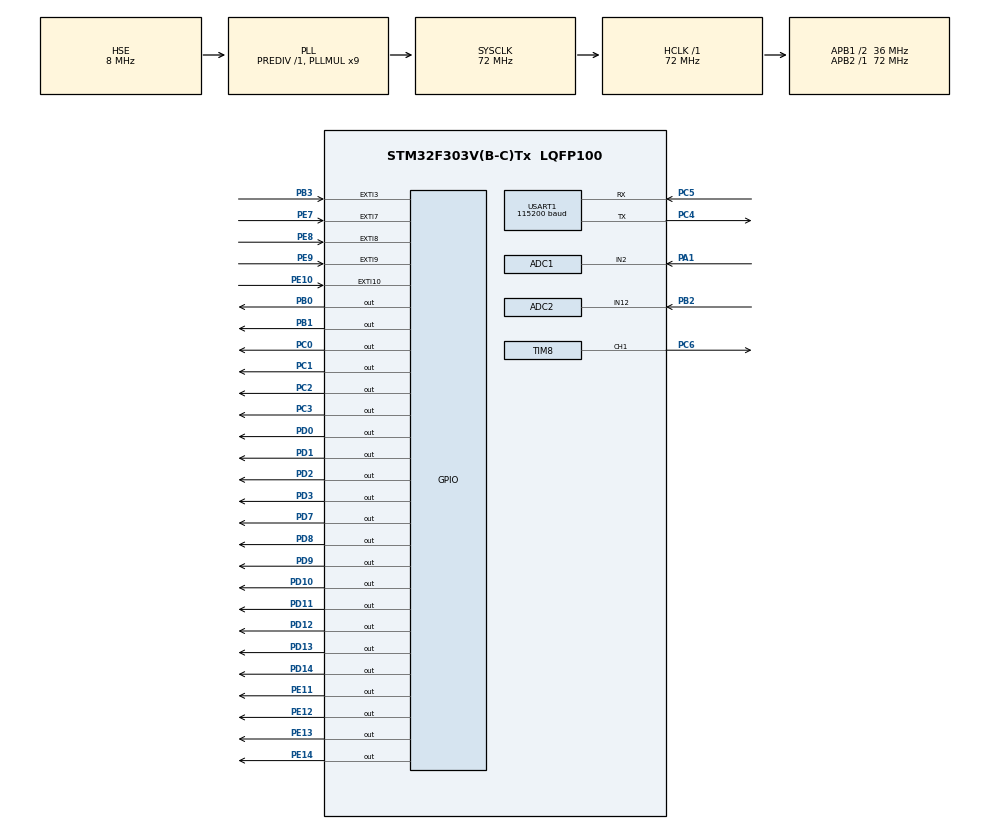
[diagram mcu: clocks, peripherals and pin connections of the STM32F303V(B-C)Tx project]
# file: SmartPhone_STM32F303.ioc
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ADC1.Channel-0\#ChannelRegularConversion=ADC_CHANNEL_2
ADC1.ClockPrescaler=ADC_CLOCK_SYNC_PCLK_DIV1
ADC1.ExternalTrigConv=ADC_EXTERNALTRIGCONV_T4_TRGO
ADC1.NbrOfConversionFlag=1
ADC1.Offset-0\#ChannelRegularConversion=0
ADC1.OffsetNumber-0\#ChannelRegularConversion=ADC_OFFSET_NONE
ADC1.Rank-0\#ChannelRegularConversion=1
ADC1.SamplingTime-0\#ChannelRegularConversion=ADC_SAMPLETIME_61CYCLES_5
ADC1.SamplingTimeOPAMP-0\#ChannelRegularConversion=ADC_SAMPLETIME_4CYCLES_5
ADC1.master=1
ADC2.Channel-0\#ChannelRegularConversion=ADC_CHANNEL_12
ADC2.ClockPrescaler=ADC_CLOCK_SYNC_PCLK_DIV1
ADC2.ExternalTrigConv=ADC_EXTERNALTRIGCONV_T4_TRGO
ADC2.NbrOfConversionFlag=1
ADC2.Offset-0\#ChannelRegularConversion=0
ADC2.OffsetNumber-0\#ChannelRegularConversion=ADC_OFFSET_NONE
ADC2.Rank-0\#ChannelRegularConversion=1
ADC2.SamplingTime-0\#ChannelRegularConversion=ADC_SAMPLETIME_61CYCLES_5
ADC2.SamplingTimeOPAMP-0\#ChannelRegularConversion=ADC_SAMPLETIME_4CYCLES_5
FREERTOS.HEAP_NUMBER=4
FREERTOS.Tasks01=defaultTask,24,128,StartDefaultTask,Default,NULL,Dynamic,NULL,NULL
FREERTOS.configTOTAL_HEAP_SIZE=12288   
IWDG.Prescaler=IWDG_PRESCALER_64
IWDG.Reload=1250
Mcu.Family=STM32F3
Mcu.Name=STM32F303V(B-C)Tx
Mcu.Package=LQFP100
NVIC.ADC1_2_IRQn=true\:7\:0\:true\:false\:true\:true\:true\:true\:true
NVIC.EXTI15_10_IRQn=true\:5\:0\:true\:false\:true\:true\:true\:true\:true
NVIC.EXTI3_IRQn=true\:5\:0\:true\:false\:true\:true\:true\:true\:true
NVIC.EXTI9_5_IRQn=true\:5\:0\:true\:false\:true\:true\:true\:true\:true
NVIC.PriorityGroup=NVIC_PRIORITYGROUP_4
NVIC.TIM1_UP_TIM16_IRQn=true\:15\:0\:true\:false\:true\:false\:false\:true\:true
NVIC.TIM2_IRQn=true\:6\:0\:true\:false\:true\:true\:true\:true\:true
NVIC.TIM3_IRQn=true\:5\:0\:true\:false\:true\:false\:true\:true\:true
NVIC.TIM6_DAC_IRQn=true\:5\:0\:false\:false\:true\:true\:true\:true\:true
NVIC.TIM7_IRQn=true\:1\:0\:true\:false\:true\:false\:true\:true\:true
NVIC.TimeBase=TIM1_UP_TIM16_IRQn
NVIC.TimeBaseIP=TIM1
NVIC.USART1_IRQn=true\:6\:0\:true\:false\:true\:true\:true\:true\:true
PA1.Mode=IN2-Single-Ended
PA1.Signal=ADC1_IN2
PA13.Mode=Serial_Wire
PA13.Signal=SYS_JTMS-SWDIO
PA14.Mode=Serial_Wire
PA14.Signal=SYS_JTCK-SWCLK
PB0.Signal=GPIO_Output
PB1.Signal=GPIO_Output
PB2.Mode=IN12-Single-Ended
PB2.Signal=ADC2_IN12
PB3.GPIO_PuPd=GPIO_PULLDOWN
PB3.Signal=GPXTI3
PC0.Signal=GPIO_Output
PC1.Signal=GPIO_Output
PC2.Signal=GPIO_Output
PC3.Signal=GPIO_Output
PC4.Mode=Asynchronous
PC4.Signal=USART1_TX
PC5.Mode=Asynchronous
PC5.Signal=USART1_RX
PC6.Signal=S_TIM8_CH1
PD0.Signal=GPIO_Output
PD1.Signal=GPIO_Output
PD10.Signal=GPIO_Output
PD11.Signal=GPIO_Output
PD12.Signal=GPIO_Output
PD13.Signal=GPIO_Output
PD14.Signal=GPIO_Output
PD2.Signal=GPIO_Output
PD3.Signal=GPIO_Output
PD7.Signal=GPIO_Output
PD8.Signal=GPIO_Output
PD9.Signal=GPIO_Output
PE10.GPIO_PuPd=GPIO_PULLDOWN
PE10.Signal=GPXTI10
PE11.PinState=GPIO_PIN_SET
PE11.Signal=GPIO_Output
PE12.PinState=GPIO_PIN_SET
PE12.Signal=GPIO_Output
PE13.PinState=GPIO_PIN_SET
PE13.Signal=GPIO_Output
PE14.PinState=GPIO_PIN_SET
PE14.Signal=GPIO_Output
PE7.GPIO_PuPd=GPIO_PULLDOWN
PE7.Signal=GPXTI7
PE8.GPIO_PuPd=GPIO_PULLDOWN
PE8.Signal=GPXTI8
PE9.GPIO_PuPd=GPIO_PULLDOWN
PE9.Signal=GPXTI9
PF0-OSC_IN.Mode=HSE-External-Clock-Source
PF0-OSC_IN.Signal=RCC_OSC_IN
ProjectManager.HeapSize=0x200
ProjectManager.StackSize=0x400
ProjectManager.TargetToolchain=STM32CubeIDE
RCC.AHBFreq_Value=72000000
RCC.APB1CLKDivider=RCC_HCLK_DIV2
RCC.APB1Freq_Value=36000000
RCC.APB1TimFreq_Value=72000000
RCC.APB2Freq_Value=72000000
RCC.APB2TimFreq_Value=72000000
RCC.CortexFreq_Value=72000000
RCC.HCLKFreq_Value=72000000
RCC.HSE_VALUE=8000000
RCC.HSI_VALUE=8000000
RCC.LSE_VALUE=32768
RCC.PLLMUL=RCC_PLL_MUL9
RCC.PLLSourceVirtual=RCC_PLLSOURCE_HSE
RCC.SYSCLKFreq_VALUE=72000000
RCC.SYSCLKSourceVirtual=RCC_SYSCLKSOURCE_PLLCLK
RCC.USBFreq_Value=72000000
RTC.AsynchPrediv=124
RTC.SynchPrediv=319
SH.S_TIM8_CH1.0=TIM8_CH1,PWM Generation1 CH1
TIM16.Period=999
TIM16.Prescaler=7199
TIM2.Period=9999
TIM2.Prescaler=7199
TIM3.Period=9
TIM3.Prescaler=7199
TIM4.Period=499
TIM4.Prescaler=7199
TIM4.TIM_MasterOutputTrigger=TIM_TRGO_UPDATE
TIM6.Period=999
TIM6.Prescaler=71
TIM7.Period=499
TIM7.Prescaler=71
TIM8.Channel-PWM\ Generation1\ CH1=TIM_CHANNEL_1
TIM8.Period=999
TIM8.Prescaler=71
USART1.BaudRate=115200
USART1.VirtualMode-Asynchronous=VM_ASYNC
VP_FREERTOS_VS_CMSIS_V2.Mode=CMSIS_V2
VP_IWDG_VS_IWDG.Mode=IWDG_Activate
VP_RTC_VS_RTC_Activate.Mode=RTC_Enabled
VP_RTC_VS_RTC_Calendar.Mode=RTC_Calendar
VP_SYS_VS_tim1.Mode=TIM1
VP_TIM16_VS_ClockSourceINT.Mode=Enable_Timer
VP_TIM2_VS_ClockSourceINT.Mode=Internal
VP_TIM3_VS_ClockSourceINT.Mode=Internal
VP_TIM4_VS_ClockSourceINT.Mode=Internal
VP_TIM6_VS_ClockSourceINT.Mode=Enable_Timer
VP_TIM7_VS_ClockSourceINT.Mode=Enable_Timer
board=custom

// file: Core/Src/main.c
/* USER CODE BEGIN Header */
/**
  ******************************************************************************
  * @file           : main.c
  * @brief          : Main program body
  ******************************************************************************
  * @attention
  *
  * Copyright (c) 2026 STMicroelectronics.
  * All rights reserved.
  *
  * This software is licensed under terms that can be found in the LICENSE file
  * in the root directory of this software component.
  * If no LICENSE file comes with this software, it is provided AS-IS.
  *
  ******************************************************************************
  */
/* USER CODE END Header */
#include "main.h"
#include "cmsis_os.h"

/* USER CODE BEGIN Includes */
#include <stdio.h>
#include "pinmap.h"
#include "serial.h"
#include "LiquidCrystal.h"
#include "seg7.h"
#include "keypad.h"
#include "events.h"
#include "app_config.h"
#include "ui.h"
#include "cgram.h"
#include "phone.h"
#include "buzzer.h"
#include "analog.h"
#include "storage.h"
#include "rtc_time.h"
#include "leds.h"
#include "health.h"
/* USER CODE END Includes */

ADC_HandleTypeDef hadc1;
ADC_HandleTypeDef hadc2;

IWDG_HandleTypeDef hiwdg;

RTC_HandleTypeDef hrtc;

TIM_HandleTypeDef htim2;
TIM_HandleTypeDef htim3;
TIM_HandleTypeDef htim4;
TIM_HandleTypeDef htim6;
TIM_HandleTypeDef htim7;
TIM_HandleTypeDef htim8;
TIM_HandleTypeDef htim16;

UART_HandleTypeDef huart1;

/* Definitions for defaultTask (== ui_task as of Phase 3, see StartDefaultTask).
 * Phase 3 note: bumped from CubeMX's original 128*4=512-byte stack_size to
 * 384*4=1536 bytes. 512 bytes was sized for the trivial pre-Phase-3 loop;
 * this task now calls into ui.c/cgram.c, which in turn call the bit-banged
 * HD44780 driver (LiquidCrystal.c) from *task* context for the first time
 * (previously all LCD writes happened directly in main() before
 * osKernelStart()). Bumped defensively while investigating a boot-loop
 * report -- see FreeRTOSConfig.h's stack-overflow-hook comment for the
 * diagnostic instrumentation added alongside this. Heap budget has ample
 * room (configTOTAL_HEAP_SIZE=12288; this task + appTask's 4096-byte stack
 * + idle/timer-service tasks + eventQueue/mutex together are ~8 KB). */
osThreadId_t defaultTaskHandle;
const osThreadAttr_t defaultTask_attributes = {
  .name = "defaultTask",
  .stack_size = 384 * 4,
  .priority = (osPriority_t) osPriorityNormal,
};
/* USER CODE BEGIN PV */
/* Definitions for appTask (plan section 4.3). Declared here, in the same
 * pattern CubeMX uses for defaultTask above, since this whole block is a
 * USER CODE region and safe from regeneration. */
osThreadId_t appTaskHandle;
const osThreadAttr_t appTask_attributes = {
  .name = "appTask",
  .stack_size = 1024 * 4,
  .priority = (osPriority_t) osPriorityNormal,
};

/* Definitions for storageTask (plan section 4.3 table: "waits on
 * save-request flag; performs flash erase/write", low priority, 256-word
 * (1024-byte) stack). Same declaration pattern as appTask above. */
osThreadId_t storageTaskHandle;
const osThreadAttr_t storageTask_attributes = {
  .name = "storageTask",
  .stack_size = 256 * 4,
  .priority = (osPriority_t) osPriorityLow,
};
/* USER CODE END PV */

void SystemClock_Config(void);
static void MX_GPIO_Init(void);
static void MX_IWDG_Init(void);
static void MX_RTC_Init(void);
static void MX_TIM2_Init(void);
static void MX_TIM6_Init(void);
static void MX_TIM7_Init(void);
static void MX_TIM8_Init(void);
static void MX_USART1_UART_Init(void);
static void MX_ADC1_Init(void);
static void MX_ADC2_Init(void);
static void MX_TIM3_Init(void);
static void MX_TIM4_Init(void);
static void MX_TIM16_Init(void);
void StartDefaultTask(void *argument);

/* USER CODE BEGIN PFP */
void StartAppTask(void *argument);
void StartStorageTask(void *argument);
/* USER CODE END PFP */

int main(void)
{

  /* MCU Configuration--------------------------------------------------------*/

  /* Reset of all peripherals, Initializes the Flash interface and the Systick. */
  HAL_Init();

  /* Configure the system clock */
  SystemClock_Config();

  /* Initialize all configured peripherals */
  MX_GPIO_Init();
  MX_IWDG_Init();
  MX_RTC_Init();
  MX_TIM2_Init();
  MX_TIM6_Init();
  MX_TIM7_Init();
  MX_TIM8_Init();
  MX_USART1_UART_Init();
  MX_ADC1_Init();
  MX_ADC2_Init();
  MX_TIM3_Init();
  MX_TIM4_Init();
  MX_TIM16_Init();
  /* USER CODE BEGIN 2 */
  Serial_Init(&huart1);
  LiquidCrystal(PIN_LCD_PORT, PIN_LCD_RS, PIN_LCD_RW, PIN_LCD_EN,
                PIN_LCD_D4, PIN_LCD_D5, PIN_LCD_D6, PIN_LCD_D7);
  Seg7_Init();
  Keypad_Init();

  HAL_TIM_Base_Start_IT(&htim7); /* seg7 mux @2 kHz */
  HAL_TIM_Base_Start_IT(&htim2); /* seg7 seconds tick @1 Hz */
  HAL_TIM_Base_Start_IT(&htim6); /* keypad engine soft-timer tick @1 kHz (plan 2.3/5.1) */

  /* Phase 4 (plan section 2.3/5.3/5.4): buzzer melody sequencer + ADC
   * pipeline bring-up. TIM3 drives Buzzer_TickISR() at 1 kHz (started
   * _IT since it needs the update-event ISR). TIM4 only needs its
   * counter running so its TRGO can trigger ADC1/ADC2 -- no IRQ is
   * enabled for it per the plan's own TIM4 row ("TRGO only, no IRQ"), so
   * plain HAL_TIM_Base_Start() (not _IT) is correct here. ADC1/ADC2 both
   * need one calibration pass before first use (HAL requirement for
   * F3's ADC) and then _IT start so HAL_ADC_ConvCpltCallback() fires on
   * every TIM4-triggered conversion; analog.c re-arms each ADC for the
   * next trigger itself (see Analog_ConvCpltCallback()'s comment). */
  HAL_ADCEx_Calibration_Start(&hadc1, ADC_SINGLE_ENDED);
  HAL_ADCEx_Calibration_Start(&hadc2, ADC_SINGLE_ENDED);
  HAL_ADC_Start_IT(&hadc1);
  HAL_ADC_Start_IT(&hadc2);
  HAL_TIM_Base_Start(&htim4);
  HAL_TIM_Base_Start_IT(&htim3);
  Buzzer_Init();
  Analog_Init();

  /* Phase 8 (plan section 2.3: "TIM16 -- PvZ game tick ... 10 Hz -- update
   * IRQ"). Started unconditionally at boot, same "always running, ignored
   * by whichever app isn't listening" pattern already used for TIM7's seg7
   * mux -- app_pvz.c's on_event() only reacts to EV_GAME_TICK while AppPvz
   * is s_current (phone.c's Phone_Dispatch() routes it there like any other
   * event), so there is no real cost to leaving TIM16 free-running instead
   * of start/stopping it on app entry/exit. */
  HAL_TIM_Base_Start_IT(&htim16);

  /* Phase 6 (plan section 5.6): load the flash blob into RAM before the
   * scheduler starts -- plain flash reads, no HAL_FLASH unlock needed,
   * same pre-kernel timing as Buzzer_Init()/Analog_Init() above. Must run
   * before appTask (Phone_Init() -> Menu -> Note/Contact apps read
   * Storage_Get*Count() as soon as the user opens them). */
  Storage_Init();

  /* Phase 7: RTC "unsynced" bookkeeping, LED init, and arming UART RX --
   * all plain register/flag setup, same pre-kernel timing as
   * Buzzer_Init()/Storage_Init() above. Serial_StartRx() must run after
   * Serial_Init() (needs s_huart already set) and before osKernelStart()
   * so the very first `/start` isn't missed while the scheduler is still
   * coming up. */
  RTC_Time_Init();
  Leds_Init();
  Serial_StartRx();

  /* Phase 3: no more direct pre-kernel print()/setCursor() calls here --
   * ui_task (StartDefaultTask) is now the sole owner of LCD writes (rule
   * 0.2), and it doesn't run until osKernelStart() below. Phone_Init(),
   * called from appTask, draws the boot screen once the scheduler is up. */
  /* USER CODE END 2 */

  /* Init scheduler */
  osKernelInitialize();

  /* USER CODE BEGIN RTOS_MUTEX */
  /* UI_Init() creates ui.c's internal lcdStateMutex (plan section 4.3:
   * "Mutex lcdStateMutex guards app-state snapshots read by ui_task").
   * Cgram_Init() just resets bank-tracking state, no LCD writes yet --
   * both are safe here, after osKernelInitialize() but before
   * osKernelStart(), matching how CubeMX itself places mutex creation. */
  UI_Init();
  Cgram_Init();
  /* USER CODE END RTOS_MUTEX */

  /* USER CODE BEGIN RTOS_QUEUES */
  Event_Init(); /* plan section 4.2: eventQueue, length EVENT_QUEUE_LEN */
  /* USER CODE END RTOS_QUEUES */

  /* Create the thread(s) */
  /* creation of defaultTask */
  defaultTaskHandle = osThreadNew(StartDefaultTask, NULL, &defaultTask_attributes);

  /* USER CODE BEGIN RTOS_THREADS */
  /* appTask (plan section 4.3): drains eventQueue, drives the phone
   * shell/apps. Created after defaultTask (which is now ui_task) so the
   * LCD-owning task exists first, though ordering doesn't matter for
   * correctness -- appTask's first action (Phone_Init()) only writes to
   * ui.c's RAM back buffer, never the LCD directly. */
  appTaskHandle = osThreadNew(StartAppTask, NULL, &appTask_attributes);

  /* storageTask (plan section 4.3): low priority, waits on
   * Storage_RequestSave()'s flag, does the actual flash erase/program.
   * Created after appTask; ordering doesn't matter for correctness since
   * Storage_WaitAndSave() just blocks until the first save request. */
  storageTaskHandle = osThreadNew(StartStorageTask, NULL, &storageTask_attributes);

  /* Phase 10: register handles for /health stack high-water marks. */
  Health_RegisterTasks(defaultTaskHandle, appTaskHandle, storageTaskHandle);
  /* USER CODE END RTOS_THREADS */

  /* USER CODE BEGIN RTOS_THREADS_CREATE_CHECK */
  /* Round-2/3 boot-loop chase instrumentation (defaultTaskHandle/
   * appTaskHandle LOG) removed in round 5: round 3 already proved both
   * threads are created successfully (non-NULL handles) every boot, and
   * round 5 root-caused the boot loop to an unrelated first-render timing
   * bug (see ui.c's UI_Init() comment). Master plan section 9.5 records the
   * full diagnostic history. */
  /* USER CODE END RTOS_THREADS_CREATE_CHECK */

  /* Start scheduler */
  osKernelStart();

  /* We should never get here as control is now taken by the scheduler */
  /* Infinite loop */
  while (1)
  {

  }
}

void SystemClock_Config(void)
{
  RCC_OscInitTypeDef RCC_OscInitStruct = {0};
  RCC_ClkInitTypeDef RCC_ClkInitStruct = {0};
  RCC_PeriphCLKInitTypeDef PeriphClkInit = {0};

  /** Initializes the RCC Oscillators according to the specified parameters
  * in the RCC_OscInitTypeDef structure.
  */
  RCC_OscInitStruct.OscillatorType = RCC_OSCILLATORTYPE_LSI|RCC_OSCILLATORTYPE_HSE;
  RCC_OscInitStruct.HSEState = RCC_HSE_BYPASS;
  RCC_OscInitStruct.HSEPredivValue = RCC_HSE_PREDIV_DIV1;
  RCC_OscInitStruct.HSIState = RCC_HSI_ON;
  RCC_OscInitStruct.LSIState = RCC_LSI_ON;
  RCC_OscInitStruct.PLL.PLLState = RCC_PLL_ON;
  RCC_OscInitStruct.PLL.PLLSource = RCC_PLLSOURCE_HSE;
  RCC_OscInitStruct.PLL.PLLMUL = RCC_PLL_MUL9;
  if (HAL_RCC_OscConfig(&RCC_OscInitStruct) != HAL_OK)
  {
    Error_Handler();
  }

  /** Initializes the CPU, AHB and APB buses clocks
  */
  RCC_ClkInitStruct.ClockType = RCC_CLOCKTYPE_HCLK|RCC_CLOCKTYPE_SYSCLK
                              |RCC_CLOCKTYPE_PCLK1|RCC_CLOCKTYPE_PCLK2;
  RCC_ClkInitStruct.SYSCLKSource = RCC_SYSCLKSOURCE_PLLCLK;
  RCC_ClkInitStruct.AHBCLKDivider = RCC_SYSCLK_DIV1;
  RCC_ClkInitStruct.APB1CLKDivider = RCC_HCLK_DIV2;
  RCC_ClkInitStruct.APB2CLKDivider = RCC_HCLK_DIV1;

  if (HAL_RCC_ClockConfig(&RCC_ClkInitStruct, FLASH_LATENCY_2) != HAL_OK)
  {
    Error_Handler();
  }
  PeriphClkInit.PeriphClockSelection = RCC_PERIPHCLK_USART1|RCC_PERIPHCLK_RTC
                              |RCC_PERIPHCLK_TIM8;
  PeriphClkInit.Usart1ClockSelection = RCC_USART1CLKSOURCE_PCLK2;
  PeriphClkInit.RTCClockSelection = RCC_RTCCLKSOURCE_LSI;
  PeriphClkInit.Tim8ClockSelection = RCC_TIM8CLK_HCLK;
  if (HAL_RCCEx_PeriphCLKConfig(&PeriphClkInit) != HAL_OK)
  {
    Error_Handler();
  }
}

static void MX_ADC1_Init(void)
{

  ADC_MultiModeTypeDef multimode = {0};
  ADC_ChannelConfTypeDef sConfig = {0};

  /** Common config
  */
  hadc1.Instance = ADC1;
  hadc1.Init.ClockPrescaler = ADC_CLOCK_SYNC_PCLK_DIV1;
  hadc1.Init.Resolution = ADC_RESOLUTION_12B;
  hadc1.Init.ScanConvMode = ADC_SCAN_DISABLE;
  hadc1.Init.ContinuousConvMode = DISABLE;
  hadc1.Init.DiscontinuousConvMode = DISABLE;
  hadc1.Init.ExternalTrigConvEdge = ADC_EXTERNALTRIGCONVEDGE_RISING;
  hadc1.Init.ExternalTrigConv = ADC_EXTERNALTRIGCONV_T4_TRGO;
  hadc1.Init.DataAlign = ADC_DATAALIGN_RIGHT;
  hadc1.Init.NbrOfConversion = 1;
  hadc1.Init.DMAContinuousRequests = DISABLE;
  hadc1.Init.EOCSelection = ADC_EOC_SINGLE_CONV;
  hadc1.Init.LowPowerAutoWait = DISABLE;
  hadc1.Init.Overrun = ADC_OVR_DATA_OVERWRITTEN;
  if (HAL_ADC_Init(&hadc1) != HAL_OK)
  {
    Error_Handler();
  }

  /** Configure the ADC multi-mode
  */
  multimode.Mode = ADC_MODE_INDEPENDENT;
  if (HAL_ADCEx_MultiModeConfigChannel(&hadc1, &multimode) != HAL_OK)
  {
    Error_Handler();
  }

  /** Configure Regular Channel
  */
  sConfig.Channel = ADC_CHANNEL_2;
  sConfig.Rank = ADC_REGULAR_RANK_1;
  sConfig.SingleDiff = ADC_SINGLE_ENDED;
  sConfig.SamplingTime = ADC_SAMPLETIME_61CYCLES_5;
  sConfig.OffsetNumber = ADC_OFFSET_NONE;
  sConfig.Offset = 0;
  if (HAL_ADC_ConfigChannel(&hadc1, &sConfig) != HAL_OK)
  {
    Error_Handler();
  }

}

static void MX_ADC2_Init(void)
{

  ADC_ChannelConfTypeDef sConfig = {0};

  /** Common config
  */
  hadc2.Instance = ADC2;
  hadc2.Init.ClockPrescaler = ADC_CLOCK_SYNC_PCLK_DIV1;
  hadc2.Init.Resolution = ADC_RESOLUTION_12B;
  hadc2.Init.ScanConvMode = ADC_SCAN_DISABLE;
  hadc2.Init.ContinuousConvMode = DISABLE;
  hadc2.Init.DiscontinuousConvMode = DISABLE;
  hadc2.Init.ExternalTrigConvEdge = ADC_EXTERNALTRIGCONVEDGE_RISING;
  hadc2.Init.ExternalTrigConv = ADC_EXTERNALTRIGCONV_T4_TRGO;
  hadc2.Init.DataAlign = ADC_DATAALIGN_RIGHT;
  hadc2.Init.NbrOfConversion = 1;
  hadc2.Init.DMAContinuousRequests = DISABLE;
  hadc2.Init.EOCSelection = ADC_EOC_SINGLE_CONV;
  hadc2.Init.LowPowerAutoWait = DISABLE;
  hadc2.Init.Overrun = ADC_OVR_DATA_OVERWRITTEN;
  if (HAL_ADC_Init(&hadc2) != HAL_OK)
  {
    Error_Handler();
  }

  /** Configure Regular Channel
  */
  sConfig.Channel = ADC_CHANNEL_12;
  sConfig.Rank = ADC_REGULAR_RANK_1;
  sConfig.SingleDiff = ADC_SINGLE_ENDED;
  sConfig.SamplingTime = ADC_SAMPLETIME_61CYCLES_5;
  sConfig.OffsetNumber = ADC_OFFSET_NONE;
  sConfig.Offset = 0;
  if (HAL_ADC_ConfigChannel(&hadc2, &sConfig) != HAL_OK)
  {
    Error_Handler();
  }

}

static void MX_IWDG_Init(void)
{

  hiwdg.Instance = IWDG;
  hiwdg.Init.Prescaler = IWDG_PRESCALER_64;
  hiwdg.Init.Window = 4095;
  hiwdg.Init.Reload = 1250;
  if (HAL_IWDG_Init(&hiwdg) != HAL_OK)
  {
    Error_Handler();
  }

}

static void MX_RTC_Init(void)
{

  RTC_TimeTypeDef sTime = {0};
  RTC_DateTypeDef sDate = {0};

  /** Initialize RTC Only
  */
  hrtc.Instance = RTC;
  hrtc.Init.HourFormat = RTC_HOURFORMAT_24;
  hrtc.Init.AsynchPrediv = 124;
  hrtc.Init.SynchPrediv = 319;
  hrtc.Init.OutPut = RTC_OUTPUT_DISABLE;
  hrtc.Init.OutPutPolarity = RTC_OUTPUT_POLARITY_HIGH;
  hrtc.Init.OutPutType = RTC_OUTPUT_TYPE_OPENDRAIN;
  if (HAL_RTC_Init(&hrtc) != HAL_OK)
  {
    Error_Handler();
  }

  /** Initialize RTC and set the Time and Date
  */
  sTime.Hours = 0x0;
  sTime.Minutes = 0x0;
  sTime.Seconds = 0x0;
  sTime.DayLightSaving = RTC_DAYLIGHTSAVING_NONE;
  sTime.StoreOperation = RTC_STOREOPERATION_RESET;
  if (HAL_RTC_SetTime(&hrtc, &sTime, RTC_FORMAT_BCD) != HAL_OK)
  {
    Error_Handler();
  }
  sDate.WeekDay = RTC_WEEKDAY_MONDAY;
  sDate.Month = RTC_MONTH_JANUARY;
  sDate.Date = 0x1;
  sDate.Year = 0x0;

  if (HAL_RTC_SetDate(&hrtc, &sDate, RTC_FORMAT_BCD) != HAL_OK)
  {
    Error_Handler();
  }

}

static void MX_TIM2_Init(void)
{

  TIM_ClockConfigTypeDef sClockSourceConfig = {0};
  TIM_MasterConfigTypeDef sMasterConfig = {0};

  htim2.Instance = TIM2;
  htim2.Init.Prescaler = 7199;
  htim2.Init.CounterMode = TIM_COUNTERMODE_UP;
  htim2.Init.Period = 9999;
  htim2.Init.ClockDivision = TIM_CLOCKDIVISION_DIV1;
  htim2.Init.AutoReloadPreload = TIM_AUTORELOAD_PRELOAD_DISABLE;
  if (HAL_TIM_Base_Init(&htim2) != HAL_OK)
  {
    Error_Handler();
  }
  sClockSourceConfig.ClockSource = TIM_CLOCKSOURCE_INTERNAL;
  if (HAL_TIM_ConfigClockSource(&htim2, &sClockSourceConfig) != HAL_OK)
  {
    Error_Handler();
  }
  sMasterConfig.MasterOutputTrigger = TIM_TRGO_RESET;
  sMasterConfig.MasterSlaveMode = TIM_MASTERSLAVEMODE_DISABLE;
  if (HAL_TIMEx_MasterConfigSynchronization(&htim2, &sMasterConfig) != HAL_OK)
  {
    Error_Handler();
  }

}

static void MX_TIM3_Init(void)
{

  TIM_ClockConfigTypeDef sClockSourceConfig = {0};
  TIM_MasterConfigTypeDef sMasterConfig = {0};

  htim3.Instance = TIM3;
  htim3.Init.Prescaler = 7199;
  htim3.Init.CounterMode = TIM_COUNTERMODE_UP;
  htim3.Init.Period = 9;
  htim3.Init.ClockDivision = TIM_CLOCKDIVISION_DIV1;
  htim3.Init.AutoReloadPreload = TIM_AUTORELOAD_PRELOAD_DISABLE;
  if (HAL_TIM_Base_Init(&htim3) != HAL_OK)
  {
    Error_Handler();
  }
  sClockSourceConfig.ClockSource = TIM_CLOCKSOURCE_INTERNAL;
  if (HAL_TIM_ConfigClockSource(&htim3, &sClockSourceConfig) != HAL_OK)
  {
    Error_Handler();
  }
  sMasterConfig.MasterOutputTrigger = TIM_TRGO_RESET;
  sMasterConfig.MasterSlaveMode = TIM_MASTERSLAVEMODE_DISABLE;
  if (HAL_TIMEx_MasterConfigSynchronization(&htim3, &sMasterConfig) != HAL_OK)
  {
    Error_Handler();
  }

}

static void MX_TIM4_Init(void)
{

  TIM_ClockConfigTypeDef sClockSourceConfig = {0};
  TIM_MasterConfigTypeDef sMasterConfig = {0};

  htim4.Instance = TIM4;
  htim4.Init.Prescaler = 7199;
  htim4.Init.CounterMode = TIM_COUNTERMODE_UP;
  htim4.Init.Period = 499;
  htim4.Init.ClockDivision = TIM_CLOCKDIVISION_DIV1;
  htim4.Init.AutoReloadPreload = TIM_AUTORELOAD_PRELOAD_DISABLE;
  if (HAL_TIM_Base_Init(&htim4) != HAL_OK)
  {
    Error_Handler();
  }
  sClockSourceConfig.ClockSource = TIM_CLOCKSOURCE_INTERNAL;
  if (HAL_TIM_ConfigClockSource(&htim4, &sClockSourceConfig) != HAL_OK)
  {
    Error_Handler();
  }
  sMasterConfig.MasterOutputTrigger = TIM_TRGO_UPDATE;
  sMasterConfig.MasterSlaveMode = TIM_MASTERSLAVEMODE_DISABLE;
  if (HAL_TIMEx_MasterConfigSynchronization(&htim4, &sMasterConfig) != HAL_OK)
  {
    Error_Handler();
  }

}

static void MX_TIM6_Init(void)
{

  TIM_MasterConfigTypeDef sMasterConfig = {0};

  htim6.Instance = TIM6;
  htim6.Init.Prescaler = 71;
  htim6.Init.CounterMode = TIM_COUNTERMODE_UP;
  htim6.Init.Period = 999;
  htim6.Init.AutoReloadPreload = TIM_AUTORELOAD_PRELOAD_DISABLE;
  if (HAL_TIM_Base_Init(&htim6) != HAL_OK)
  {
    Error_Handler();
  }
  sMasterConfig.MasterOutputTrigger = TIM_TRGO_RESET;
  sMasterConfig.MasterSlaveMode = TIM_MASTERSLAVEMODE_DISABLE;
  if (HAL_TIMEx_MasterConfigSynchronization(&htim6, &sMasterConfig) != HAL_OK)
  {
    Error_Handler();
  }

}

static void MX_TIM7_Init(void)
{

  TIM_MasterConfigTypeDef sMasterConfig = {0};

  htim7.Instance = TIM7;
  htim7.Init.Prescaler = 71;
  htim7.Init.CounterMode = TIM_COUNTERMODE_UP;
  htim7.Init.Period = 499;
  htim7.Init.AutoReloadPreload = TIM_AUTORELOAD_PRELOAD_DISABLE;
  if (HAL_TIM_Base_Init(&htim7) != HAL_OK)
  {
    Error_Handler();
  }
  sMasterConfig.MasterOutputTrigger = TIM_TRGO_RESET;
  sMasterConfig.MasterSlaveMode = TIM_MASTERSLAVEMODE_DISABLE;
  if (HAL_TIMEx_MasterConfigSynchronization(&htim7, &sMasterConfig) != HAL_OK)
  {
    Error_Handler();
  }

}

static void MX_TIM8_Init(void)
{

  TIM_MasterConfigTypeDef sMasterConfig = {0};
  TIM_OC_InitTypeDef sConfigOC = {0};
  TIM_BreakDeadTimeConfigTypeDef sBreakDeadTimeConfig = {0};

  htim8.Instance = TIM8;
  htim8.Init.Prescaler = 71;
  htim8.Init.CounterMode = TIM_COUNTERMODE_UP;
  htim8.Init.Period = 999;
  htim8.Init.ClockDivision = TIM_CLOCKDIVISION_DIV1;
  htim8.Init.RepetitionCounter = 0;
  htim8.Init.AutoReloadPreload = TIM_AUTORELOAD_PRELOAD_DISABLE;
  if (HAL_TIM_PWM_Init(&htim8) != HAL_OK)
  {
    Error_Handler();
  }
  sMasterConfig.MasterOutputTrigger = TIM_TRGO_RESET;
  sMasterConfig.MasterOutputTrigger2 = TIM_TRGO2_RESET;
  sMasterConfig.MasterSlaveMode = TIM_MASTERSLAVEMODE_DISABLE;
  if (HAL_TIMEx_MasterConfigSynchronization(&htim8, &sMasterConfig) != HAL_OK)
  {
    Error_Handler();
  }
  sConfigOC.OCMode = TIM_OCMODE_PWM1;
  sConfigOC.Pulse = 0;
  sConfigOC.OCPolarity = TIM_OCPOLARITY_HIGH;
  sConfigOC.OCNPolarity = TIM_OCNPOLARITY_HIGH;
  sConfigOC.OCFastMode = TIM_OCFAST_DISABLE;
  sConfigOC.OCIdleState = TIM_OCIDLESTATE_RESET;
  sConfigOC.OCNIdleState = TIM_OCNIDLESTATE_RESET;
  if (HAL_TIM_PWM_ConfigChannel(&htim8, &sConfigOC, TIM_CHANNEL_1) != HAL_OK)
  {
    Error_Handler();
  }
  sBreakDeadTimeConfig.OffStateRunMode = TIM_OSSR_DISABLE;
  sBreakDeadTimeConfig.OffStateIDLEMode = TIM_OSSI_DISABLE;
  sBreakDeadTimeConfig.LockLevel = TIM_LOCKLEVEL_OFF;
  sBreakDeadTimeConfig.DeadTime = 0;
  sBreakDeadTimeConfig.BreakState = TIM_BREAK_DISABLE;
  sBreakDeadTimeConfig.BreakPolarity = TIM_BREAKPOLARITY_HIGH;
  sBreakDeadTimeConfig.BreakFilter = 0;
  sBreakDeadTimeConfig.Break2State = TIM_BREAK2_DISABLE;
  sBreakDeadTimeConfig.Break2Polarity = TIM_BREAK2POLARITY_HIGH;
  sBreakDeadTimeConfig.Break2Filter = 0;
  sBreakDeadTimeConfig.AutomaticOutput = TIM_AUTOMATICOUTPUT_DISABLE;
  if (HAL_TIMEx_ConfigBreakDeadTime(&htim8, &sBreakDeadTimeConfig) != HAL_OK)
  {
    Error_Handler();
  }
  HAL_TIM_MspPostInit(&htim8);

}

static void MX_TIM16_Init(void)
{

  htim16.Instance = TIM16;
  htim16.Init.Prescaler = 7199;
  htim16.Init.CounterMode = TIM_COUNTERMODE_UP;
  htim16.Init.Period = 999;
  htim16.Init.ClockDivision = TIM_CLOCKDIVISION_DIV1;
  htim16.Init.RepetitionCounter = 0;
  htim16.Init.AutoReloadPreload = TIM_AUTORELOAD_PRELOAD_DISABLE;
  if (HAL_TIM_Base_Init(&htim16) != HAL_OK)
  {
    Error_Handler();
  }

}

static void MX_USART1_UART_Init(void)
{

  huart1.Instance = USART1;
  huart1.Init.BaudRate = 115200;
  huart1.Init.WordLength = UART_WORDLENGTH_8B;
  huart1.Init.StopBits = UART_STOPBITS_1;
  huart1.Init.Parity = UART_PARITY_NONE;
  huart1.Init.Mode = UART_MODE_TX_RX;
  huart1.Init.HwFlowCtl = UART_HWCONTROL_NONE;
  huart1.Init.OverSampling = UART_OVERSAMPLING_16;
  huart1.Init.OneBitSampling = UART_ONE_BIT_SAMPLE_DISABLE;
  huart1.AdvancedInit.AdvFeatureInit = UART_ADVFEATURE_NO_INIT;
  if (HAL_UART_Init(&huart1) != HAL_OK)
  {
    Error_Handler();
  }

}

static void MX_GPIO_Init(void)
{
  GPIO_InitTypeDef GPIO_InitStruct = {0};

  /* GPIO Ports Clock Enable */
  __HAL_RCC_GPIOF_CLK_ENABLE();
  __HAL_RCC_GPIOC_CLK_ENABLE();
  __HAL_RCC_GPIOA_CLK_ENABLE();
  __HAL_RCC_GPIOB_CLK_ENABLE();
  __HAL_RCC_GPIOE_CLK_ENABLE();
  __HAL_RCC_GPIOD_CLK_ENABLE();

  /*Configure GPIO pin Output Level */
  HAL_GPIO_WritePin(GPIOC, GPIO_PIN_0|GPIO_PIN_1|GPIO_PIN_2|GPIO_PIN_3, GPIO_PIN_RESET);

  /*Configure GPIO pin Output Level */
  HAL_GPIO_WritePin(GPIOB, GPIO_PIN_0|GPIO_PIN_1, GPIO_PIN_RESET);

  /*Configure GPIO pin Output Level */
  HAL_GPIO_WritePin(GPIOE, GPIO_PIN_11|GPIO_PIN_12|GPIO_PIN_13|GPIO_PIN_14, GPIO_PIN_SET);

  /*Configure GPIO pin Output Level */
  HAL_GPIO_WritePin(GPIOD, GPIO_PIN_8|GPIO_PIN_9|GPIO_PIN_10|GPIO_PIN_11
                          |GPIO_PIN_12|GPIO_PIN_13|GPIO_PIN_14|GPIO_PIN_0
                          |GPIO_PIN_1|GPIO_PIN_2|GPIO_PIN_3|GPIO_PIN_7, GPIO_PIN_RESET);

  /*Configure GPIO pins : PC0 PC1 PC2 PC3 */
  GPIO_InitStruct.Pin = GPIO_PIN_0|GPIO_PIN_1|GPIO_PIN_2|GPIO_PIN_3;
  GPIO_InitStruct.Mode = GPIO_MODE_OUTPUT_PP;
  GPIO_InitStruct.Pull = GPIO_NOPULL;
  GPIO_InitStruct.Speed = GPIO_SPEED_FREQ_LOW;
  HAL_GPIO_Init(GPIOC, &GPIO_InitStruct);

  /*Configure GPIO pins : PB0 PB1 */
  GPIO_InitStruct.Pin = GPIO_PIN_0|GPIO_PIN_1;
  GPIO_InitStruct.Mode = GPIO_MODE_OUTPUT_PP;
  GPIO_InitStruct.Pull = GPIO_NOPULL;
  GPIO_InitStruct.Speed = GPIO_SPEED_FREQ_LOW;
  HAL_GPIO_Init(GPIOB, &GPIO_InitStruct);

  /*Configure GPIO pins : PE7 PE8 PE9 PE10 */
  GPIO_InitStruct.Pin = GPIO_PIN_7|GPIO_PIN_8|GPIO_PIN_9|GPIO_PIN_10;
  GPIO_InitStruct.Mode = GPIO_MODE_IT_RISING;
  GPIO_InitStruct.Pull = GPIO_PULLDOWN;
  HAL_GPIO_Init(GPIOE, &GPIO_InitStruct);

  /*Configure GPIO pins : PE11 PE12 PE13 PE14 */
  GPIO_InitStruct.Pin = GPIO_PIN_11|GPIO_PIN_12|GPIO_PIN_13|GPIO_PIN_14;
  GPIO_InitStruct.Mode = GPIO_MODE_OUTPUT_PP;
  GPIO_InitStruct.Pull = GPIO_NOPULL;
  GPIO_InitStruct.Speed = GPIO_SPEED_FREQ_LOW;
  HAL_GPIO_Init(GPIOE, &GPIO_InitStruct);

  /*Configure GPIO pins : PD8 PD9 PD10 PD11
                           PD12 PD13 PD14 PD0
                           PD1 PD2 PD3 PD7 */
  GPIO_InitStruct.Pin = GPIO_PIN_8|GPIO_PIN_9|GPIO_PIN_10|GPIO_PIN_11
                          |GPIO_PIN_12|GPIO_PIN_13|GPIO_PIN_14|GPIO_PIN_0
                          |GPIO_PIN_1|GPIO_PIN_2|GPIO_PIN_3|GPIO_PIN_7;
  GPIO_InitStruct.Mode = GPIO_MODE_OUTPUT_PP;
  GPIO_InitStruct.Pull = GPIO_NOPULL;
  GPIO_InitStruct.Speed = GPIO_SPEED_FREQ_LOW;
  HAL_GPIO_Init(GPIOD, &GPIO_InitStruct);

  /*Configure GPIO pin : PB3 */
  GPIO_InitStruct.Pin = GPIO_PIN_3;
  GPIO_InitStruct.Mode = GPIO_MODE_IT_RISING;
  GPIO_InitStruct.Pull = GPIO_PULLDOWN;
  HAL_GPIO_Init(GPIOB, &GPIO_InitStruct);

  /* EXTI interrupt init*/
  HAL_NVIC_SetPriority(EXTI3_IRQn, 5, 0);
  HAL_NVIC_EnableIRQ(EXTI3_IRQn);

  HAL_NVIC_SetPriority(EXTI9_5_IRQn, 5, 0);
  HAL_NVIC_EnableIRQ(EXTI9_5_IRQn);

  HAL_NVIC_SetPriority(EXTI15_10_IRQn, 5, 0);
  HAL_NVIC_EnableIRQ(EXTI15_10_IRQn);

}

/* USER CODE BEGIN 4 */

/* Round-5 defense-in-depth: passed to UI_RenderDirty() as its per-row
 * callback (see ui.h's doc comment). ui.c deliberately has no visibility
 * into hiwdg (not exposed via main.h), so this thin wrapper is how ui_task's
 * render loop can feed the watchdog mid-redraw without main.c handing the
 * whole IWDG handle out to another module. */
static void ui_iwdg_row_kick(void)
{
  HAL_IWDG_Refresh(&hiwdg);
}

/* USER CODE END 4 */

void StartDefaultTask(void *argument)
{
  /* USER CODE BEGIN 5 */
  /* Phase 3: this is now the real ui_task from plan section 4.3's table --
   * "ui_render_dirty(); cgram_apply(); IWDG kick; osDelay(30)" -- copied
   * verbatim. This finally resolves the rule 0.2 deviation Phase 1/2 both
   * documented as "corrected in Phase 3 when the task split happens":
   * event draining and all app logic moved out to the new appTask/
   * StartAppTask() below; this loop touches nothing but the LCD (via
   * ui.c/cgram.c) and the watchdog. Kept as the CubeMX-generated
   * "defaultTask" identity (name/handle/priority) rather than renamed,
   * since those declaration lines sit outside USER CODE markers and would
   * be re-clobbered by the next CubeMX .ioc regeneration anyway; only this
   * body (already USER CODE-owned) needed to change. */
  /* Round-2/3/4 boot-loop chase instrumentation (ui_task alive + per-tick
   * dbg_tick logging) removed here in round 5: rounds 1-4 already proved
   * task creation, thread liveness, and looping all worked correctly, and
   * round 5 root-caused the actual boot loop to UI_Init() forcing an
   * unnecessarily large first-frame redraw (see ui.c's UI_Init() comment)
   * -- not a hang in this loop. Master plan section 9.5 records the full
   * diagnostic history; no longer worth the UART traffic on every boot. */
  for (;;)
  {
    UI_RenderDirty(ui_iwdg_row_kick);
    Cgram_Apply();
    HAL_IWDG_Refresh(&hiwdg);
    osDelay(UI_RENDER_TICK_MS);
  }
  /* USER CODE END 5 */
}

/* USER CODE BEGIN Header_StartAppTask */
/**
  * @brief  Function implementing the appTask thread (plan section 4.3):
  *         drains eventQueue and drives the phone shell / apps. Never
  *         touches the LCD directly -- all display output goes through
  *         ui.h's RAM back-buffer, flushed to hardware only by ui_task.
  * @param  argument: Not used
  * @retval None
  */
/* USER CODE END Header_StartAppTask */
void StartAppTask(void *argument)
{
  /* USER CODE BEGIN AppTask */
  Phone_Init();

  for (;;)
  {
    Event ev;
    /* Innovation I2: longer wait + __WFI while locked (no STOP/STANDBY —
     * keypad/UART/IWDG stay alive; ui_task still kicks IWDG every ~30 ms). */
    uint32_t wait_ms = Phone_IsLocked() ? (uint32_t)LOCK_IDLE_MS
                                        : (uint32_t)APP_TASK_TICK_MS;
    if (osMessageQueueGet(eventQueue, &ev, NULL, wait_ms) == osOK) {
      Phone_Dispatch(&ev);
    } else if (Phone_IsLocked()) {
      __WFI();
    }
    Phone_Tick(); /* drives blink/animation re-evaluation every tick
                    * regardless of whether an event arrived (see
                    * app_config.h's APP_TASK_TICK_MS comment) */
  }
  /* USER CODE END AppTask */
}

void StartStorageTask(void *argument)
{
  for (;;)
  {
    Storage_WaitAndSave();
  }
}

void HAL_TIM_PeriodElapsedCallback(TIM_HandleTypeDef *htim)
{
  if (htim->Instance == TIM1) {
    HAL_IncTick();
  }
  /* USER CODE BEGIN Callback 1 */
  else if (htim->Instance == TIM7) {
    Seg7_MuxISR();
  }
  else if (htim->Instance == TIM2) {
    Seg7_SecondsTickISR();
  }
  else if (htim->Instance == TIM6) {
    Keypad_TickISR();
  }
  else if (htim->Instance == TIM3) {
    Buzzer_TickISR(); /* plan section 2.3: TIM3 = melody sequencer @1 kHz */
  }
  else if (htim->Instance == TIM16) {
    /* Phase 8 (plan section 2.3/5.8): PvZ game tick @10 Hz. Thin ISR ->
     * event post, same pattern as every other producer in this file --
     * the actual simulation step runs in app_task (Phone_Dispatch() ->
     * app_pvz.c's on_event()), never here. */
    Event ev = { .type = (uint8_t)EV_GAME_TICK, .a = 0, .b = 0, .c = 0 };
    Event_Post(&ev);
  }
  /* USER CODE END Callback 1 */
}

/**
  * @brief  Conversion complete callback in non-blocking mode (Phase 4,
  *         plan section 5.4). Fires from ADC1_2_IRQHandler for both ADC1
  *         (LDR) and ADC2 (pot) -- dispatch and re-arming both live in
  *         analog.c so this stays a pure pass-through (see analog.h's
  *         header comment on why no ADC handle externs are needed here).
  * @param  hadc: ADC handle
  * @retval None
  */
/* USER CODE BEGIN Callback ADC */
void HAL_ADC_ConvCpltCallback(ADC_HandleTypeDef *hadc)
{
  Analog_ConvCpltCallback(hadc);
}
/* USER CODE END Callback ADC */

void Error_Handler(void)
{
  /* USER CODE BEGIN Error_Handler_Debug */
  /* User can add his own implementation to report the HAL error return state */
  /* Diagnostic instrumentation added while chasing the Phase 3 boot-loop
   * report (LCD repeats "SmartPhone", board keeps resetting). Error_Handler()
   * is reached whenever any HAL_xxx_Init() call fails, and previously gave
   * zero indication of which one -- it just spun forever below with IRQs
   * disabled, starving the IWDG (~2s timeout, see MX_IWDG_Init()) until the
   * watchdog reset the board, which then hit the same failing init again,
   * producing exactly the observed infinite reset loop. LOG() can't be used
   * here because it's interrupt-driven (HAL_UART_Transmit_IT, drained by
   * USART1_IRQHandler) and we're about to disable interrupts; use polled
   * HAL_UART_Transmit() instead, same approach as HardFault_Handler_C() in
   * stm32f3xx_it.c. __LINE__/__FILE__ of the *caller* aren't available here
   * (Error_Handler takes no arguments in the HAL-generated call sites), but
   * this at least distinguishes "we hit Error_Handler" from "we HardFaulted",
   * which the earlier UART log alone could not do. */
  {
    const char msg[] = "\r\n[ERROR_HANDLER] a HAL_xxx_Init() call failed -- see call stack via debugger for which one\r\n";
    HAL_UART_Transmit(&huart1, (uint8_t *)msg, (uint16_t)(sizeof(msg) - 1), 500u);
  }
  __disable_irq();
  while (1)
  {
  }
  /* USER CODE END Error_Handler_Debug */
}

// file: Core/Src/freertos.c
/* USER CODE BEGIN Header */
/**
  ******************************************************************************
  * File Name          : freertos.c
  * Description        : Code for freertos applications
  ******************************************************************************
  * @attention
  *
  * Copyright (c) 2026 STMicroelectronics.
  * All rights reserved.
  *
  * This software is licensed under terms that can be found in the LICENSE file
  * in the root directory of this software component.
  * If no LICENSE file comes with this software, it is provided AS-IS.
  *
  ******************************************************************************
  */
/* USER CODE END Header */

#include "FreeRTOS.h"
#include "task.h"
#include "main.h"

/* USER CODE BEGIN Includes */
#include "serial.h"
/* USER CODE END Includes */

/* USER CODE BEGIN Application */

/* Diagnostic hooks for the Phase 3 boot-loop investigation (see
 * FreeRTOSConfig.h's "USER CODE BEGIN Defines" comment for the full
 * rationale). LOG() uses the existing ring-buffer+IT UART driver
 * (serial.c), same one used for every other boot/debug message since
 * Phase 0, so this needs no new peripheral setup. If the board really is
 * stack-overflowing or heap-exhausting, this line is expected to appear on
 * the UART terminal (Termite) right before the LCD freezes/resets -- if it
 * never appears, that rules out both hypotheses and the search moves
 * elsewhere (e.g. capture RCC->CSR's *RSTF flags in the debugger to confirm
 * IWDG is even the reset source at all). */
void vApplicationStackOverflowHook(TaskHandle_t xTask, char *pcTaskName)
{
  (void)xTask;
  LOG("[STACK OVERFLOW] task=%s", pcTaskName);
  taskDISABLE_INTERRUPTS();
  for (;;) {
    /* deliberately not feeding IWDG -- let it reset so the next boot is
     * observable too, but hold here long enough for the UART TX above to
     * actually drain before the reset happens. */
  }
}

void vApplicationMallocFailedHook(void)
{
  LOG("[MALLOC FAILED]");
  taskDISABLE_INTERRUPTS();
  for (;;) {
  }
}

/* USER CODE END Application */
